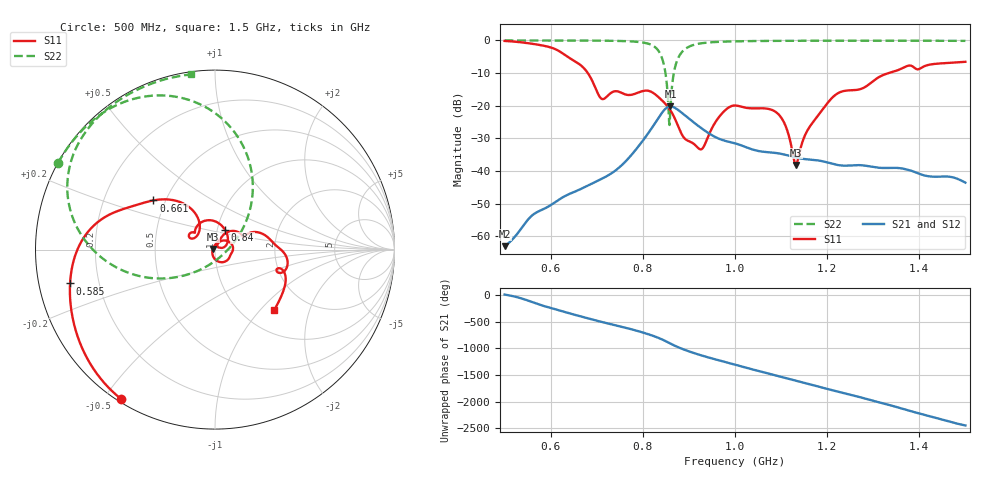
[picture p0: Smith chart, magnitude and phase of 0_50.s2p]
! TOUCHSTONE file generated by CST MICROWAVE STUDIO
! Date and time: Sat Oct 24 11:18:43 2020
! Project name: Scenario_1_Circular_Tissue_in_Line.cst
! Parameters = {L_HA=400; MT=2.54; Rad_Dielectric=30; Rad_Lower=7.3; Rad_Upper=30; a_HA=580; a_WG=246; b_HA=500; b_WG=121; c_HA=0; c_WG=187; d_feed=85; dx1=1021.68; h_feed=15; h_lower=18; h_upper=40}
! Header version: 2018
! Port assignment regex: !\s*Touchstone port\s*([0-9]+)\s*=\s*(CST MWS port|CST DS port)\s*([0-9]+|Zmin|Zmax)\s*\(\"(.*)\"\)(\s*mode\s*([0-9]+))?.*
! Touchstone port assignment:
! Touchstone port 1 = CST MWS port 1 ("")
! Touchstone port 2 = CST MWS port 2 ("")
# GHz S DB R 50
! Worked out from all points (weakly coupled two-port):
!   1003 points, 500 MHz to 1.5 GHz, reference 50 ohm
!   highest |S21| = -20.22 dB at 860 MHz (marker M1); lowest = -63.0 dB at 500 MHz (marker M2)
!   lowest |S11| = -38.1 dB at 1.132 GHz (marker M3), VSWR 1.03, Z = 48.8 + j0.375 ohm
!   |S11| at or under -10 dB: 680.6 MHz to 1.333 GHz (652.8 MHz wide, 64.8 % of centre)
!   |S22| runs from -25.9 to 0.0 dB; largest |S21 - S12| = 2e-06
!   S11 on the Smith chart (normalised r, x): 500 MHz: 0.01, -0.55; 585 MHz: 0.09, -0.11; 661 MHz: 0.43, +0.29; 840 MHz: 1.09, +0.24; 1.5 GHz: 1.39, -1.20
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0.5  -0.15 -122.2  -63.00 6.8  -62.99 6.8  -0.01 151.1
0.585  -1.63 -166.9  -51.60 152.6  -51.60 152.6  -0.02 145.2
0.661  -7.15 141.4  -45.77 -33.2  -45.77 -33.2  -0.04 138.9
0.667  -7.81 136.6  -45.38 -47.0  -45.38 -47.0  -0.04 138.3
0.711  -17.91 138.2  -42.34 -147.0  -42.34 -147.0  -0.08 133.5
0.79  -15.96 132.6  -32.52 41.3  -32.52 41.3  -0.46 117.0
0.834  -17.37 72.0  -23.69 -85.1  -23.69 -85.1  -3.20 83.2
0.84  -18.15 63.4  -22.44 -107.3  -22.44 -107.3  -4.82 72.8
0.848  -19.27 51.7  -21.06 -139.8  -21.06 -139.8  -9.08 54.0
0.855  -20.42 40.9  -20.36 -170.4  -20.36 -170.4  -18.95 20.4
0.86  -21.42 33.1  -20.22 167.5  -20.22 167.5  -20.49 -112.4
0.867  -23.19 22.8  -20.46 137.7  -20.46 137.7  -10.17 -149.0
0.878  -26.76 13.6  -21.44 95.2  -21.44 95.2  -5.02 -170.0
0.925  -33.36 40.1  -26.67 -47.6  -26.67 -47.6  -0.92 156.2
0.967  -23.15 46.8  -30.20 -149.2  -30.20 -149.2  -0.42 145.5
1  -19.92 5.8  -31.51 133.6  -31.51 133.6  -0.28 140.2
1.093  -22.42 -67.1  -34.54 -77.6  -34.54 -77.6  -0.13 130.3
1.132  -38.14 162.0  -35.85 -166.9  -35.85 -166.9  -0.11 127.0
1.167  -25.45 66.3  -36.54 115.7  -36.54 115.7  -0.10 124.2
1.221  -16.37 42.8  -38.09 -6.0  -38.09 -6.0  -0.08 120.0
1.334  -9.98 9.1  -39.04 100.1  -39.04 100.1  -0.09 111.4
1.5  -6.54 -45.2  -43.55 74.9  -43.55 74.9  -0.13 97.9
